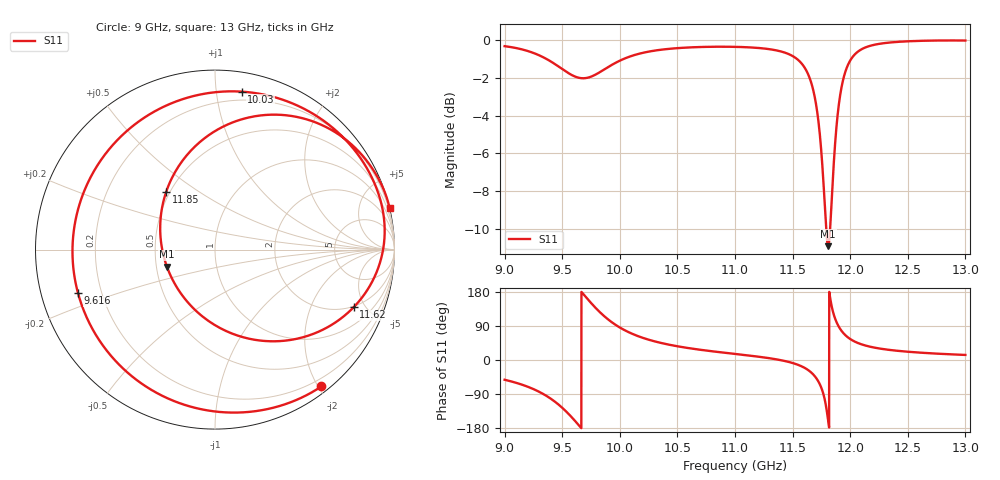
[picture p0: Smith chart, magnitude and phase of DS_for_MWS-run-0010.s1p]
! TOUCHSTONE file generated by CST DESIGN STUDIO
! Date and time: Tue Feb  4 16:42:45 2025
! Project name: C:\Work\MatlabApps\UnitCellOptimizationMatlab\CST\unitcell.cst
! Tree item: Tasks\Sweep1\SPara1\S-Parameters
! Header version: 2024
! Port assignment regex: !\s*Touchstone port\s*([0-9]+)\s*=\s*(CST MWS port|CST DES external port|CST DES block port)\s*(.+)\s* \(\"(.*)\"\)(\s*mode\s*([0-9]+))?.*
! Touchstone port assignment:
! Touchstone port 1 = CST DES external port 1 ("")
# GHz S MA R 50
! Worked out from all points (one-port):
!   4001 points, 9 GHz to 13 GHz, reference 50 ohm
!   lowest |S11| = -10.9 dB at 11.81 GHz (marker M1), VSWR 1.79, Z = 28.4 - j5.87 ohm
!   |S11| at or under -10 dB: 11.7914 GHz to 11.82569 GHz (34.29 MHz wide, 0.29 % of centre)
!   S11 on the Smith chart (normalised r, x): 9 GHz: 0.09, -2.04; 9.616 GHz: 0.11, -0.15; 10.03 GHz: 0.14, +1.17; 11.62 GHz: 1.94, -4.14; 11.85 GHz: 0.48, +0.37; 13 GHz: 0.02, +8.55
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9  0.9657 -52.1
9.167  0.9441 -66.8
9.319  0.9076 -87.0
9.416  0.8737 -105.4
9.5  0.8399 -126.0
9.616  0.8009 -162.3
9.711  0.7951 164.1
9.819  0.8211 128.6
9.903  0.8514 106.0
10  0.8837 85.8
10.031  0.8925 80.4
10.235  0.9321 55.0
10.5  0.9541 36.2
11  0.9617 16.0
11.5  0.9092 -7.9
11.615  0.8365 -22.6
11.681  0.7342 -38.7
11.738  0.5562 -65.1
11.773  0.3944 -96.4
11.809  0.2843 -160.5
11.848  0.4211 130.3
11.879  0.5814 101.6
11.91  0.706 83.4
12  0.8845 55.4
12.074  0.9374 44.0
12.171  0.9673 35.2
12.5  0.9949 21.8
13  0.9996 13.3
